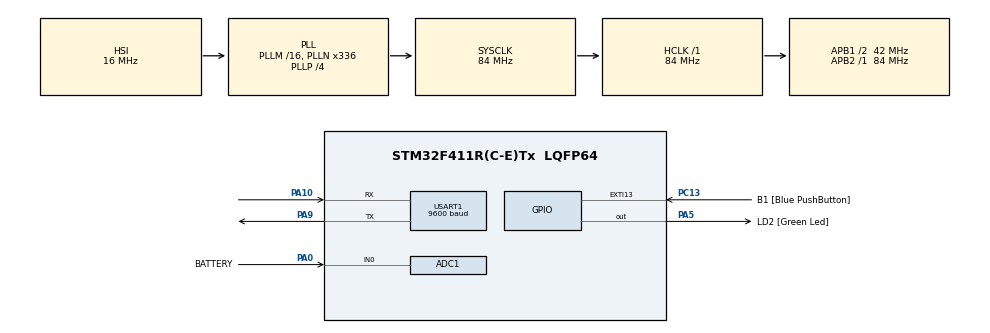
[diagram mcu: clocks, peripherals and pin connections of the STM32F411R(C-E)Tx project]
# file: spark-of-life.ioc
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ADC1.Channel-4\#ChannelRegularConversion=ADC_CHANNEL_0
ADC1.ContinuousConvMode=DISABLE
ADC1.NbrOfConversionFlag=1
ADC1.Rank-4\#ChannelRegularConversion=1
ADC1.SamplingTime-4\#ChannelRegularConversion=ADC_SAMPLETIME_3CYCLES
ADC1.master=1
Mcu.Family=STM32F4
Mcu.Name=STM32F411R(C-E)Tx
Mcu.Package=LQFP64
NVIC.ADC_IRQn=true\:0\:0\:false\:false\:true
NVIC.EXTI15_10_IRQn=true\:0\:0\:false\:false\:true
NVIC.PriorityGroup=NVIC_PRIORITYGROUP_0
NVIC.USART1_IRQn=true\:0\:0\:false\:false\:true
PA0-WKUP.GPIO_Label=BATTERY
PA0-WKUP.Signal=ADCx_IN0
PA10.Mode=Asynchronous
PA10.Signal=USART1_RX
PA13.GPIO_Label=TMS
PA13.Signal=SYS_JTMS-SWDIO
PA14.GPIO_Label=TCK
PA14.Signal=SYS_JTCK-SWCLK
PA2.GPIO_Label=USART_TX
PA2.Signal=USART2_TX
PA3.GPIO_Label=USART_RX
PA3.Signal=USART2_RX
PA5.GPIO_Label=LD2 [Green Led]
PA5.Signal=GPIO_Output
PA9.Mode=Asynchronous
PA9.Signal=USART1_TX
PB3.GPIO_Label=SWO
PB3.Signal=SYS_JTDO-SWO
PC13-ANTI_TAMP.GPIO_Label=B1 [Blue PushButton]
PC13-ANTI_TAMP.GPIO_ModeDefaultEXTI=GPIO_MODE_IT_RISING_FALLING
PC13-ANTI_TAMP.Signal=GPXTI13
PC14-OSC32_IN.Signal=RCC_OSC32_IN
PC15-OSC32_OUT.Signal=RCC_OSC32_OUT
PH0\ -\ OSC_IN.Signal=RCC_OSC_IN
PH1\ -\ OSC_OUT.Signal=RCC_OSC_OUT
ProjectManager.HeapSize=0x200
ProjectManager.StackSize=0x400
ProjectManager.TargetToolchain=SW4STM32
RCC.48MHZClocksFreq_Value=84000000
RCC.AHBFreq_Value=84000000
RCC.APB1CLKDivider=RCC_HCLK_DIV2
RCC.APB1Freq_Value=42000000
RCC.APB1TimFreq_Value=84000000
RCC.APB2Freq_Value=84000000
RCC.APB2TimFreq_Value=84000000
RCC.CortexFreq_Value=84000000
RCC.FLatency-AdvancedSettings=FLASH_LATENCY_2
RCC.HCLKFreq_Value=84000000
RCC.HSE_VALUE=8000000
RCC.HSI_VALUE=16000000
RCC.LSE_VALUE=32768
RCC.PLLN=336
RCC.PLLP=RCC_PLLP_DIV4
RCC.SYSCLKFreq_VALUE=84000000
RCC.SYSCLKSource=RCC_SYSCLKSOURCE_PLLCLK
RCC.VCOOutputFreq_Value=336000000
SH.ADCx_IN0.0=ADC1_IN0,IN0
USART1.BaudRate=9600
board=NUCLEO-F411RE

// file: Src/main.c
/**
  ******************************************************************************
  * File Name          : main.c
  * Description        : Main program body
  ******************************************************************************
  *
  * COPYRIGHT(c) 2016 STMicroelectronics
  *
  * Redistribution and use in source and binary forms, with or without modification,
  * are permitted provided that the following conditions are met:
  *   1. Redistributions of source code must retain the above copyright notice,
  *      this list of conditions and the following disclaimer.
  *   2. Redistributions in binary form must reproduce the above copyright notice,
  *      this list of conditions and the following disclaimer in the documentation
  *      and/or other materials provided with the distribution.
  *   3. Neither the name of STMicroelectronics nor the names of its contributors
  *      may be used to endorse or promote products derived from this software
  *      without specific prior written permission.
  *
  * THIS SOFTWARE IS PROVIDED BY THE COPYRIGHT HOLDERS AND CONTRIBUTORS "AS IS"
  * AND ANY EXPRESS OR IMPLIED WARRANTIES, INCLUDING, BUT NOT LIMITED TO, THE
  * IMPLIED WARRANTIES OF MERCHANTABILITY AND FITNESS FOR A PARTICULAR PURPOSE ARE
  * DISCLAIMED. IN NO EVENT SHALL THE COPYRIGHT HOLDER OR CONTRIBUTORS BE LIABLE
  * FOR ANY DIRECT, INDIRECT, INCIDENTAL, SPECIAL, EXEMPLARY, OR CONSEQUENTIAL
  * DAMAGES (INCLUDING, BUT NOT LIMITED TO, PROCUREMENT OF SUBSTITUTE GOODS OR
  * SERVICES; LOSS OF USE, DATA, OR PROFITS; OR BUSINESS INTERRUPTION) HOWEVER
  * CAUSED AND ON ANY THEORY OF LIABILITY, WHETHER IN CONTRACT, STRICT LIABILITY,
  * OR TORT (INCLUDING NEGLIGENCE OR OTHERWISE) ARISING IN ANY WAY OUT OF THE USE
  * OF THIS SOFTWARE, EVEN IF ADVISED OF THE POSSIBILITY OF SUCH DAMAGE.
  *
  ******************************************************************************
  */
#include "main.h"
#include "stm32f4xx_hal.h"

/* USER CODE BEGIN Includes */
#include "stm32f4xx_hal_uart.h"
#include "stm32f4xx_hal_adc.h"

/* USER CODE END Includes */

ADC_HandleTypeDef hadc1;

UART_HandleTypeDef huart1;

/* USER CODE BEGIN PV */
/* Private variables ---------------------------------------------------------*/

#define MESSAGE_LENGTH 16
#define ADC_MAX_VALUE 4095
#define VOLTAGE_REFERENCE 3340
#define DROP_RESISTOR 9990
#define MESURE_RESISTOR 5070

uint8_t received[MESSAGE_LENGTH];

/* USER CODE END PV */

void SystemClock_Config(void);
void Error_Handler(void);
static void MX_GPIO_Init(void);
static void MX_USART1_UART_Init(void);
static void MX_ADC1_Init(void);

/* USER CODE BEGIN PFP */
/* Private function prototypes -----------------------------------------------*/

void send_message(const char *data) {
	static uint8_t buffor[MESSAGE_LENGTH];
	int size = sprintf(buffor, data);
	HAL_UART_Transmit_IT(&huart1, buffor, size);
}

int to_baterry_voltage(uint32_t adcValue) {
	int mesuredVoltage = (adcValue * VOLTAGE_REFERENCE) / ADC_MAX_VALUE;
	return (mesuredVoltage * (DROP_RESISTOR + MESURE_RESISTOR)) / MESURE_RESISTOR;
}

void HAL_GPIO_EXTI_Callback(uint16_t GPIO_Pin) {
	if (GPIO_Pin == B1_Pin) {
		if (HAL_GPIO_ReadPin(B1_GPIO_Port, B1_Pin) == GPIO_PIN_SET) {
			send_message("BUTTON UP");
		} else {
			send_message("BUTTON DOWN");
		}
	}
}

void HAL_UART_RxCpltCallback(UART_HandleTypeDef *huart) {
	HAL_GPIO_TogglePin(LD2_GPIO_Port, LD2_Pin);
	HAL_UART_Receive_IT(&huart1, received, MESSAGE_LENGTH);
}

void HAL_ADC_ConvCpltCallback(ADC_HandleTypeDef* hadc){
	uint32_t value = HAL_ADC_GetValue(&hadc1);
	static char buffor[MESSAGE_LENGTH];
	int baterryVoltage = to_baterry_voltage(value);
	sprintf(buffor, "BATERRY %d", baterryVoltage);
	send_message(buffor);
}
/* USER CODE END PFP */

int main(void)
{

  /* MCU Configuration----------------------------------------------------------*/

  /* Reset of all peripherals, Initializes the Flash interface and the Systick. */
  HAL_Init();

  /* Configure the system clock */
  SystemClock_Config();

  /* Initialize all configured peripherals */
  MX_GPIO_Init();
  MX_USART1_UART_Init();
  MX_ADC1_Init();

  /* USER CODE BEGIN 2 */
  HAL_UART_Receive_IT(&huart1, received, MESSAGE_LENGTH);
  HAL_ADC_Start_IT(&hadc1);

  /* USER CODE END 2 */

  /* Infinite loop */
  while (1)
  {

  }

}

/** System Clock Configuration
*/
void SystemClock_Config(void)
{

  RCC_OscInitTypeDef RCC_OscInitStruct;
  RCC_ClkInitTypeDef RCC_ClkInitStruct;

    /**Configure the main internal regulator output voltage
    */
  __HAL_RCC_PWR_CLK_ENABLE();

  __HAL_PWR_VOLTAGESCALING_CONFIG(PWR_REGULATOR_VOLTAGE_SCALE1);

    /**Initializes the CPU, AHB and APB busses clocks
    */
  RCC_OscInitStruct.OscillatorType = RCC_OSCILLATORTYPE_HSI;
  RCC_OscInitStruct.HSIState = RCC_HSI_ON;
  RCC_OscInitStruct.HSICalibrationValue = 16;
  RCC_OscInitStruct.PLL.PLLState = RCC_PLL_ON;
  RCC_OscInitStruct.PLL.PLLSource = RCC_PLLSOURCE_HSI;
  RCC_OscInitStruct.PLL.PLLM = 16;
  RCC_OscInitStruct.PLL.PLLN = 336;
  RCC_OscInitStruct.PLL.PLLP = RCC_PLLP_DIV4;
  RCC_OscInitStruct.PLL.PLLQ = 4;
  if (HAL_RCC_OscConfig(&RCC_OscInitStruct) != HAL_OK)
  {
    Error_Handler();
  }

    /**Initializes the CPU, AHB and APB busses clocks
    */
  RCC_ClkInitStruct.ClockType = RCC_CLOCKTYPE_HCLK|RCC_CLOCKTYPE_SYSCLK
                              |RCC_CLOCKTYPE_PCLK1|RCC_CLOCKTYPE_PCLK2;
  RCC_ClkInitStruct.SYSCLKSource = RCC_SYSCLKSOURCE_PLLCLK;
  RCC_ClkInitStruct.AHBCLKDivider = RCC_SYSCLK_DIV1;
  RCC_ClkInitStruct.APB1CLKDivider = RCC_HCLK_DIV2;
  RCC_ClkInitStruct.APB2CLKDivider = RCC_HCLK_DIV1;

  if (HAL_RCC_ClockConfig(&RCC_ClkInitStruct, FLASH_LATENCY_2) != HAL_OK)
  {
    Error_Handler();
  }

    /**Configure the Systick interrupt time
    */
  HAL_SYSTICK_Config(HAL_RCC_GetHCLKFreq()/1000);

    /**Configure the Systick
    */
  HAL_SYSTICK_CLKSourceConfig(SYSTICK_CLKSOURCE_HCLK);

  /* SysTick_IRQn interrupt configuration */
  HAL_NVIC_SetPriority(SysTick_IRQn, 0, 0);
}

/* ADC1 init function */
static void MX_ADC1_Init(void)
{

  ADC_ChannelConfTypeDef sConfig;

    /**Configure the global features of the ADC (Clock, Resolution, Data Alignment and number of conversion)
    */
  hadc1.Instance = ADC1;
  hadc1.Init.ClockPrescaler = ADC_CLOCK_SYNC_PCLK_DIV4;
  hadc1.Init.Resolution = ADC_RESOLUTION_12B;
  hadc1.Init.ScanConvMode = DISABLE;
  hadc1.Init.ContinuousConvMode = DISABLE;
  hadc1.Init.DiscontinuousConvMode = DISABLE;
  hadc1.Init.ExternalTrigConvEdge = ADC_EXTERNALTRIGCONVEDGE_NONE;
  hadc1.Init.DataAlign = ADC_DATAALIGN_RIGHT;
  hadc1.Init.NbrOfConversion = 1;
  hadc1.Init.DMAContinuousRequests = DISABLE;
  hadc1.Init.EOCSelection = ADC_EOC_SINGLE_CONV;
  if (HAL_ADC_Init(&hadc1) != HAL_OK)
  {
    Error_Handler();
  }

    /**Configure for the selected ADC regular channel its corresponding rank in the sequencer and its sample time.
    */
  sConfig.Channel = ADC_CHANNEL_0;
  sConfig.Rank = 1;
  sConfig.SamplingTime = ADC_SAMPLETIME_3CYCLES;
  if (HAL_ADC_ConfigChannel(&hadc1, &sConfig) != HAL_OK)
  {
    Error_Handler();
  }

}

/* USART1 init function */
static void MX_USART1_UART_Init(void)
{

  huart1.Instance = USART1;
  huart1.Init.BaudRate = 9600;
  huart1.Init.WordLength = UART_WORDLENGTH_8B;
  huart1.Init.StopBits = UART_STOPBITS_1;
  huart1.Init.Parity = UART_PARITY_NONE;
  huart1.Init.Mode = UART_MODE_TX_RX;
  huart1.Init.HwFlowCtl = UART_HWCONTROL_NONE;
  huart1.Init.OverSampling = UART_OVERSAMPLING_16;
  if (HAL_UART_Init(&huart1) != HAL_OK)
  {
    Error_Handler();
  }

}

/** Configure pins as
        * Analog
        * Input
        * Output
        * EVENT_OUT
        * EXTI
     PA2   ------> USART2_TX
     PA3   ------> USART2_RX
*/
static void MX_GPIO_Init(void)
{

  GPIO_InitTypeDef GPIO_InitStruct;

  /* GPIO Ports Clock Enable */
  __HAL_RCC_GPIOC_CLK_ENABLE();
  __HAL_RCC_GPIOH_CLK_ENABLE();
  __HAL_RCC_GPIOA_CLK_ENABLE();
  __HAL_RCC_GPIOB_CLK_ENABLE();

  /*Configure GPIO pin : B1_Pin */
  GPIO_InitStruct.Pin = B1_Pin;
  GPIO_InitStruct.Mode = GPIO_MODE_IT_RISING_FALLING;
  GPIO_InitStruct.Pull = GPIO_NOPULL;
  HAL_GPIO_Init(B1_GPIO_Port, &GPIO_InitStruct);

  /*Configure GPIO pins : USART_TX_Pin USART_RX_Pin */
  GPIO_InitStruct.Pin = USART_TX_Pin|USART_RX_Pin;
  GPIO_InitStruct.Mode = GPIO_MODE_AF_PP;
  GPIO_InitStruct.Pull = GPIO_NOPULL;
  GPIO_InitStruct.Speed = GPIO_SPEED_FREQ_VERY_HIGH;
  GPIO_InitStruct.Alternate = GPIO_AF7_USART2;
  HAL_GPIO_Init(GPIOA, &GPIO_InitStruct);

  /*Configure GPIO pin : LD2_Pin */
  GPIO_InitStruct.Pin = LD2_Pin;
  GPIO_InitStruct.Mode = GPIO_MODE_OUTPUT_PP;
  GPIO_InitStruct.Pull = GPIO_NOPULL;
  GPIO_InitStruct.Speed = GPIO_SPEED_FREQ_LOW;
  HAL_GPIO_Init(LD2_GPIO_Port, &GPIO_InitStruct);

  /*Configure GPIO pin Output Level */
  HAL_GPIO_WritePin(LD2_GPIO_Port, LD2_Pin, GPIO_PIN_RESET);

  /* EXTI interrupt init*/
  HAL_NVIC_SetPriority(EXTI15_10_IRQn, 0, 0);
  HAL_NVIC_EnableIRQ(EXTI15_10_IRQn);

}

void Error_Handler(void)
{
  while(1)
  {
  }
}

/************************ (C) COPYRIGHT STMicroelectronics *****END OF FILE****/
